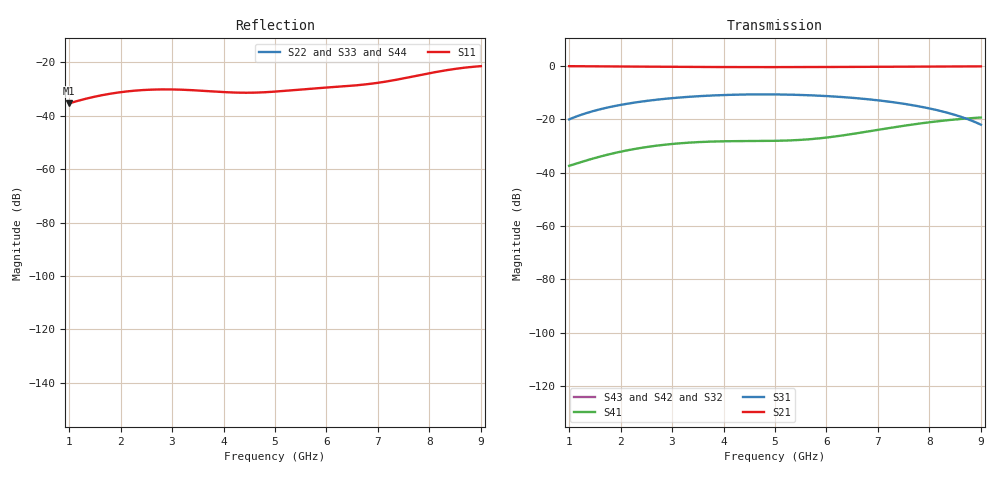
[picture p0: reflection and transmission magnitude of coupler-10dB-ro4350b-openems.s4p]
! openEMS result for 10 dB coupled-line coupler on JLC RO4350B 0.508 mm, from physical dimensions (5 GHz)
# Hz S RI R 50
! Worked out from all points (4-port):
!   401 points, 1 GHz to 9 GHz, reference 50 ohm
!   strongest paths, dB at 1 GHz, 3 GHz, 5 GHz, 7 GHz, 9 GHz:
!     S21: -0.1, -0.4, -0.5, -0.4, -0.2
!     S31: -20.1, -12.1, -10.7, -12.9, -22.0
!     S41: -37.4, -29.3, -28.1, -24.0, -19.4
!     S43: -, -, -, -, -
!     S42: -, -, -, -, -
!     S32: -, -, -, -, -
!   lowest |S11| = -35.3 dB at 1 GHz (marker M1), VSWR 1.03, Z = 51.4 + j1 ohm
!   |S11| at or under -10 dB: start of sweep to end of sweep
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1e9  0.0141 0.00974  0 0  0 0  0 0
     0.5963 -0.7844  0 0  0 0  0 0
     0.0796 0.0592  0 0  0 0  0 0
     -0.0106 -0.00826  0 0  0 0  0 0
2.04e9  0.0279 -0.00309  0 0  0 0  0 0
        -0.287 -0.9283  0 0  0 0  0 0
        0.1799 -0.0564  0 0  0 0  0 0
        -0.0232 0.00964  0 0  0 0  0 0
3.26e9  0.00742 -0.0298  0 0  0 0  0 0
        -0.9411 -0.1601  0 0  0 0  0 0
        0.0436 -0.2565  0 0  0 0  0 0
        0.0031 0.036  0 0  0 0  0 0
5.22e9  -0.0121 0.0269  0 0  0 0  0 0
        0.0194 0.9463  0 0  0 0  0 0
        -0.2893 0.00452  0 0  0 0  0 0
        0.0392 -0.00758  0 0  0 0  0 0
7.06e9  0.0239 -0.035  0 0  0 0  0 0
        0.9542 -0.1136  0 0  0 0  0 0
        0.0218 0.2216  0 0  0 0  0 0
        0.00516 -0.0644  0 0  0 0  0 0
8.12e9  -0.0564 -0.0342  0 0  0 0  0 0
        0.4448 -0.8635  0 0  0 0  0 0
        0.1296 0.0759  0 0  0 0  0 0
        -0.0722 -0.0547  0 0  0 0  0 0
9e9  -0.073 0.0438  0 0  0 0  0 0
     -0.3277 -0.9203  0 0  0 0  0 0
     0.0774 -0.0162  0 0  0 0  0 0
     -0.1042 0.0273  0 0  0 0  0 0
